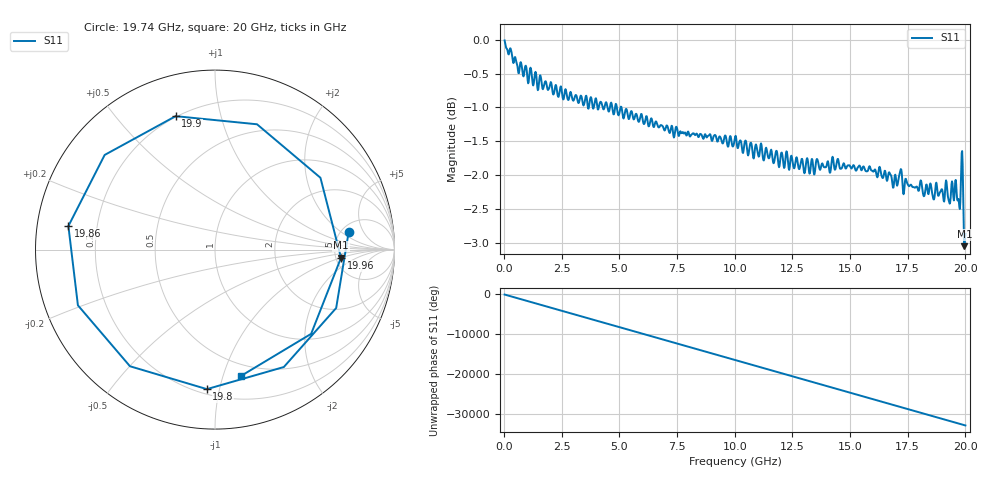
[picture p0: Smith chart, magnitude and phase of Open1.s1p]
! File created by SignalIntegrity v1.1.10: Signal and Power Integrity Tools
! https://github.com/TeledyneLeCroy/SignalIntegrity
# MHz S MA R 50.0
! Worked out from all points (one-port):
!   1000 points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, 20 MHz to 20 GHz, reference 50 ohm
!   lowest |S11| = -3.1 dB at 19.96 GHz (marker M1), VSWR 5.75, Z = 278 - j49.9 ohm
!   |S11| at or under -10 dB: nowhere
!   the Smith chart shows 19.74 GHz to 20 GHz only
!   S11 on the Smith chart (normalised r, x): 19.74 GHz: 5.79, +2.68; 19.8 GHz: 0.23, -0.92; 19.86 GHz: 0.10, +0.08; 19.9 GHz: 0.20, +0.73; 19.96 GHz: 5.56, -1.00; 20 GHz: 0.40, -1.15
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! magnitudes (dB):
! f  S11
! 20 MHz  0.0
! 600 MHz  -0.5
! 1.38 GHz  -0.5
! 2.52 GHz  -0.8
! 5.02 GHz  -1.0
! 7.52 GHz  -1.3
! 10.02 GHz  -1.4
! 12.52 GHz  -1.8
! 13.34 GHz  -1.8
! 15.02 GHz  -1.9
! 16.72 GHz  -2.0
! 16.94 GHz  -2.0
! 17.16 GHz  -2.0
! 17.36 GHz  -2.2
! 17.52 GHz  -2.2
! 18.22 GHz  -2.3
! 18.4 GHz  -2.3
! 18.6 GHz  -2.3
! 19.2 GHz  -2.2
! 19.3 GHz  -2.4
! 19.5 GHz  -2.4
! 19.7 GHz  -2.4
! 19.74 GHz  -2.5
! 19.8 GHz  -2.2
! 19.86 GHz  -1.6
! 19.9 GHz  -2.2
! 19.96 GHz  -3.1
! 20 GHz  -2.9
